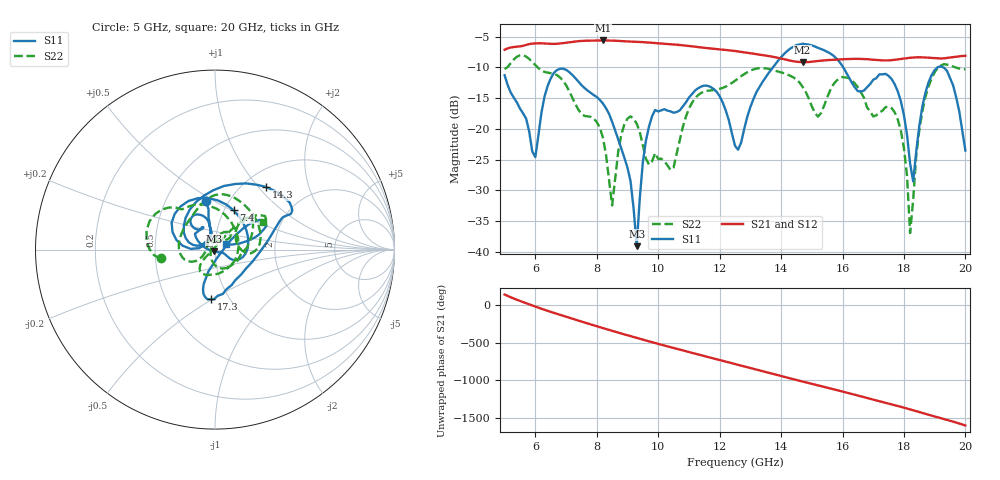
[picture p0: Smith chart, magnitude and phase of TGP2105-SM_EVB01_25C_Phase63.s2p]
! Date: Wednesday, June 05, 2013  1:53 PM
! Filename: C:\Data\Mike_Arnold\TGP2105-SM\Over_Temp\TGP2105-SM_EVB01_25C_Phase63.s2p
! Comments:
!^VDC(V):5.000
!^VDC(mA):0.137
!%Freq(GHz),S11(dB),S11(ang),S21(dB),S21(ang),S12(dB),S12(ang),S22(dB),S22(ang)
# GHz  S  DB  R  50
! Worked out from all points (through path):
!   151 points, 5 GHz to 20 GHz, reference 50 ohm
!   highest |S21| = -5.63 dB at 8.2 GHz (marker M1); lowest = -9.2 dB at 14.7 GHz (marker M2)
!   lowest |S11| = -39.1 dB at 9.3 GHz (marker M3), VSWR 1.02, Z = 49.6 - j1.04 ohm
!   |S11| at or under -10 dB: start of sweep to 13.74 GHz; 16.02 GHz to 19.09 GHz (3.07 GHz wide, 17.5 % of centre); 19.27 GHz to end of sweep
!   |S22| runs from -37.0 to -8.0 dB; largest |S21 - S12| = 0.0022
!   S11 on the Smith chart (normalised r, x): 5 GHz: 0.79, +0.46; 7.4 GHz: 1.11, +0.52; 14.3 GHz: 1.26, +1.10; 17.3 GHz: 0.82, -0.49; 20 GHz: 1.12, +0.07
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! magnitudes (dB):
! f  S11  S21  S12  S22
! 5 GHz  -11.3  -7.1  -7.1  -10.3
! 6 GHz  -24.6  -6.1  -6.1  -9.6
! 6.6 GHz  -10.9  -6.2  -6.2  -11.1
! 7.4 GHz  -12.3  -5.7  -5.8  -16.9
! 7.5 GHz  -12.9  -5.7  -5.7  -17.6
! 8.2 GHz  -15.9  -5.6  -5.7  -21.4
! 8.5 GHz  -18.9  -5.6  -5.7  -32.5
! 9.3 GHz  -39.1  -5.9  -5.9  -19.2
! 9.6 GHz  -21.9  -5.9  -6.0  -24.9
! 10 GHz  -17.2  -6.1  -6.1  -24.9
! 11.7 GHz  -13.2  -6.9  -7.0  -13.8
! 12.5 GHz  -22.8  -7.3  -7.4  -12.2
! 14.3 GHz  -6.9  -8.9  -8.9  -11.4
! 14.7 GHz  -6.2  -9.2  -9.2  -13.2
! 15 GHz  -6.4  -9.1  -9.1  -16.3
! 17.3 GHz  -11.1  -8.9  -8.9  -17.0
! 17.5 GHz  -11.4  -8.9  -8.9  -16.4
! 18 GHz  -17.8  -8.6  -8.6  -23.2
! 18.2 GHz  -25.7  -8.4  -8.5  -37.0
! 18.8 GHz  -12.5  -8.4  -8.5  -13.1
! 19.4 GHz  -10.6  -8.5  -8.5  -9.6
! 20 GHz  -23.5  -8.1  -8.2  -10.3
